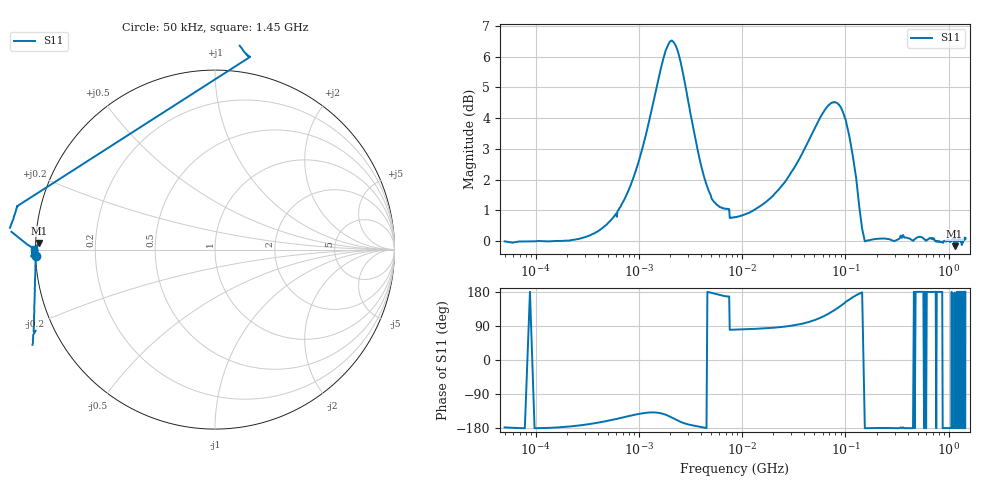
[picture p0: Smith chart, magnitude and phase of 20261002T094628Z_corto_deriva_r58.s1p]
! piloto_deriva / corto_deriva / r58
# HZ S RI R 50
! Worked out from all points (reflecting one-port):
!   501 points, 50 kHz to 1.45 GHz, reference 50 ohm
!   lowest |S11| = -0.2 dB at 1.139 GHz (marker M1), VSWR 107.97, Z = 0.463 + j0.941 ohm
!   phase of S11 starts at -178 deg and turns -2 deg over the sweep
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50000  -0.9988 -0.0373
183000  -1 -0.052
363500  -1.004 -0.2248
658000  -1.014 -0.5108
1180000  -1.136 -0.9794
1630000  -1.475 -1.212
1990000  -1.815 -1.076
2170000  -1.899 -0.9083
2440000  -1.9 -0.6398
3070000  -1.632 -0.2676
4330000  -1.262 -0.0305
7300000  -1.102 0.241
7750000  0.1931 1.073
8560000  0.187 1.078
1.99e7  0.1023 1.181
3.16e7  -0.0355 1.312
4.69e7  -0.3225 1.454
6.76e7  -0.8591 1.417
7.93e7  -1.14 1.238
9.46e7  -1.361 0.8774
9.82e7  -1.384 0.7833
1e8  -1.409 0.7156
1.18e8  -1.331 0.3383
1.36e8  -1.134 0.0993
1.63e8  -1.003 -0.00329
4.06e8  -1.011 -0.00459
1.1395e9  -0.981 0.0369
1.45e9  -1.01 0.00137
